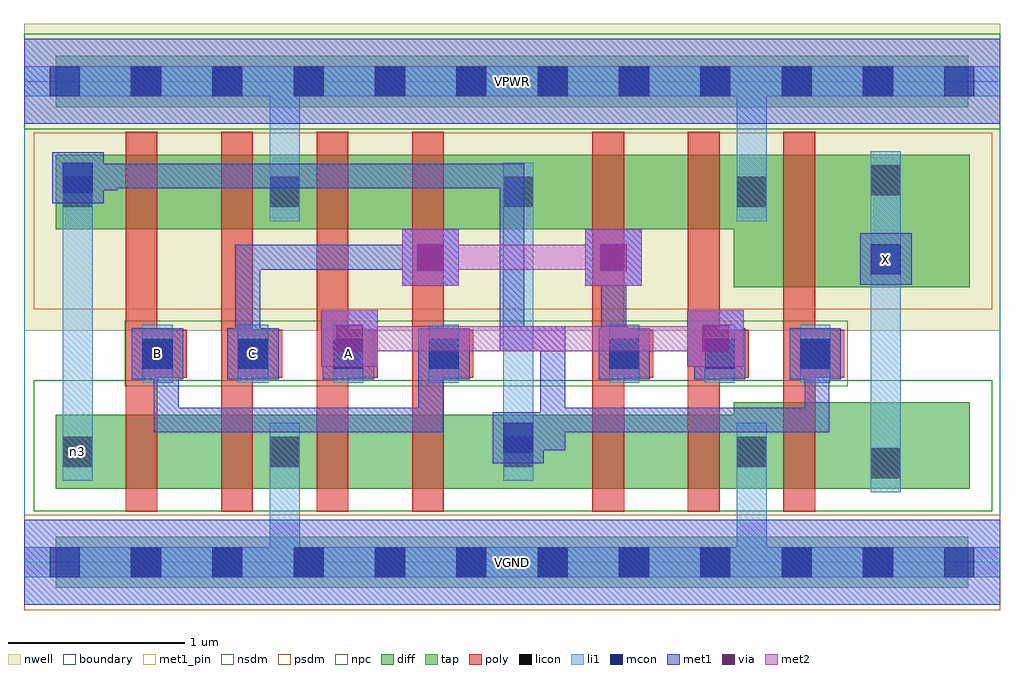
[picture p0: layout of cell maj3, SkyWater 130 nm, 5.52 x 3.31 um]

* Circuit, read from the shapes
.subckt maj3 A B C VGND VPWR X n3
XM1 n1 B n3 VGND sky130_fd_pr__nfet_01v8 w=0.42 l=0.18
XM2 VGND C n1 VGND sky130_fd_pr__nfet_01v8 w=0.42 l=0.18
XM3 n2 A VGND VGND sky130_fd_pr__nfet_01v8 w=0.42 l=0.18
XM4 n3 B n2 VGND sky130_fd_pr__nfet_01v8 w=0.42 l=0.18
XM5 n4 C n3 VGND sky130_fd_pr__nfet_01v8 w=0.42 l=0.18
XM6 VGND A n4 VGND sky130_fd_pr__nfet_01v8 w=0.42 l=0.18
XM7 X n3 VGND VGND sky130_fd_pr__nfet_01v8 w=0.49 l=0.18
XM8 n5 B n3 VPWR sky130_fd_pr__pfet_01v8 w=0.42 l=0.18
XM9 VPWR C n5 VPWR sky130_fd_pr__pfet_01v8 w=0.42 l=0.18
XM10 n6 A VPWR VPWR sky130_fd_pr__pfet_01v8 w=0.42 l=0.18
XM11 n3 B n6 VPWR sky130_fd_pr__pfet_01v8 w=0.42 l=0.18
XM12 n7 C n3 VPWR sky130_fd_pr__pfet_01v8 w=0.42 l=0.18
XM13 VPWR A n7 VPWR sky130_fd_pr__pfet_01v8 w=0.42 l=0.18
XM14 X n3 VPWR VPWR sky130_fd_pr__pfet_01v8 w=0.75 l=0.18
.ends

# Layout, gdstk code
import gdstk
lib = gdstk.Library(unit=1e-6, precision=1e-09)
def R(c, l, rs):  # rectangles x0, y0, x1, y1
    for r in rs: c.add(gdstk.rectangle(r[:2], r[2:], *l))
def A(c, l, x, y, w, h, nx, ny, dx, dy):  # array of equal rectangles
    R(c, l, [(x+i*dx, y+j*dy, x+i*dx+w, y+j*dy+h) for i in range(nx) for j in range(ny)])
nwell = (64, 20)
diff = (65, 20)
tap = (65, 44)
poly = (66, 20)
licon = (66, 44)
li1 = (67, 20)
mcon = (67, 44)
met1_pin = (68, 16)
met1 = (68, 20)
via = (68, 44)
met2 = (69, 20)
nsdm = (93, 44)
psdm = (94, 20)
npc = (95, 20)
boundary = (235, 4)

maj3 = lib.new_cell('maj3')
R(maj3, nwell, [(0,1.31,5.52,3.045)])
R(maj3, diff, [(0.18,0.415,4.295,0.835), (4.015,0.415,5.35,0.905), (4.015,1.555,5.35,2.305), (0.18,1.885,4.295,2.305)])
R(maj3, tap, [(0.18,-0.145,5.34,0.145), (0.18,2.575,5.34,2.865)])
A(maj3, poly, 0.575, 0.285, 0.18, 2.15, 4, 1, 0.54, 0)
A(maj3, poly, 3.215, 0.285, 0.18, 2.15, 3, 1, 0.54, 0)
A(maj3, poly, 0.59, 1.045, 0.33, 0.27, 4, 1, 0.54, 0)
A(maj3, poly, 3.23, 1.045, 0.33, 0.27, 3, 1, 0.54, 0)
A(maj3, licon, 0.605, -0.085, 0.17, 0.17, 10, 2, 0.46, 2.72)
A(maj3, licon, 1.39, 0.54, 0.17, 0.17, 3, 2, 1.32, 1.47)
A(maj3, licon, 0.67, 1.095, 0.17, 0.17, 4, 1, 0.54, 0)
A(maj3, licon, 3.31, 1.095, 0.17, 0.17, 3, 1, 0.54, 0)
R(maj3, licon, [(4.79,0.475,4.96,0.645), (0.22,0.54,0.39,0.71), (0.22,2.01,0.39,2.18), (4.79,2.075,4.96,2.245)])
A(maj3, li1, 1.39, 0.46, 0.17, 0.33, 3, 2, 1.32, 1.47)
A(maj3, li1, 0.67, 1.015, 0.17, 0.33, 4, 1, 0.54, 0)
A(maj3, li1, 3.31, 1.015, 0.17, 0.33, 3, 1, 0.54, 0)
R(maj3, li1, [(0,-0.085,5.52,0.085), (1.39,-0.085,1.56,0.79), (4.03,-0.085,4.2,0.79), (4.79,0.395,4.96,0.725), (4.79,0.395,4.96,2.325), (0.22,0.46,0.39,0.79), (0.22,0.46,0.39,2.26), (2.71,0.46,2.88,2.26), (0.22,1.93,0.39,2.26), (1.39,1.93,1.56,2.805), (4.03,1.93,4.2,2.805), (4.79,1.995,4.96,2.325), (0,2.635,5.52,2.805)])
A(maj3, mcon, 0.145, -0.085, 0.17, 0.17, 12, 2, 0.46, 2.72)
A(maj3, mcon, 0.67, 1.095, 0.17, 0.17, 4, 1, 0.54, 0)
A(maj3, mcon, 3.31, 1.095, 0.17, 0.17, 3, 1, 0.54, 0)
R(maj3, mcon, [(2.71,0.62,2.88,0.79), (4.79,1.63,4.96,1.8), (0.22,2.09,0.39,2.26)])
A(maj3, met1_pin, 0.61, 1.035, 0.29, 0.29, 3, 1, 0.54, 0)
R(maj3, met1_pin, [(0,-0.24,5.52,0.24), (4.73,1.57,5.02,1.86), (0,2.48,5.52,2.96)])
A(maj3, met1, 0.61, 1.035, 0.29, 0.29, 4, 1, 0.54, 0)
A(maj3, met1, 3.25, 1.035, 0.29, 0.29, 3, 1, 0.54, 0)
A(maj3, met1, 3.265, 1.08, 0.14, 0.14, 3, 1, 0.575, 0)
R(maj3, met1, [(0,-0.24,5.52,0.24), (2.65,0.56,2.94,0.85), (2.725,0.635,3.06,0.775), (2.92,0.635,3.06,0.875), (0.735,0.735,0.875,1.22), (0.735,0.735,2.37,0.875), (2.23,0.735,2.37,1.22), (2.92,0.735,4.555,0.875), (2.92,0.735,3.06,1.335), (4.415,0.735,4.555,1.22), (0.735,1.08,0.875,1.22), (1.195,1.08,1.335,1.22), (1.195,1.08,1.335,1.795), (1.77,1.08,1.91,1.22), (1.77,1.08,1.91,1.335), (2.23,1.08,2.37,1.22), (3.265,1.08,3.405,1.795), (3.84,1.08,3.98,1.335), (1.68,1.105,2,1.425), (3.75,1.105,4.07,1.425), (2.69,1.195,3.06,1.335), (2.69,1.195,2.83,2.255), (2.14,1.565,2.46,1.885), (3.175,1.565,3.495,1.885), (4.73,1.57,5.02,1.86), (1.195,1.655,2.37,1.795), (0.16,2.03,0.45,2.32), (0.235,2.105,0.53,2.245), (0.39,2.105,0.53,2.255), (0.39,2.115,2.83,2.255), (0,2.48,5.52,2.96)])
R(maj3, via, [(1.765,1.19,1.915,1.34), (3.835,1.19,3.985,1.34), (2.225,1.65,2.375,1.8), (3.26,1.65,3.41,1.8)])
R(maj3, met2, [(1.68,1.105,2,1.425), (3.75,1.105,4.07,1.425), (1.77,1.195,3.98,1.335), (2.14,1.565,2.46,1.885), (3.175,1.565,3.495,1.885), (2.23,1.655,3.405,1.795)])
R(maj3, nsdm, [(0.055,0.29,5.475,1.03), (0,2.45,5.52,2.99)])
R(maj3, psdm, [(0,-0.27,5.52,0.27), (0.055,1.43,5.475,2.43)])
R(maj3, npc, [(0.57,0.995,4.66,1.365)])
R(maj3, boundary, [(0,0,5.52,2.72)])
maj3.add(gdstk.Label('n3', (0.305,0.625), layer=67, texttype=5))
maj3.add(gdstk.Label('A', (1.835,1.18), layer=68, texttype=5))
maj3.add(gdstk.Label('B', (0.755,1.18), layer=68, texttype=5))
maj3.add(gdstk.Label('C', (1.295,1.18), layer=68, texttype=5))
maj3.add(gdstk.Label('X', (4.875,1.715), layer=68, texttype=5))
maj3.add(gdstk.Label('VPWR', (2.76,2.72), layer=68, texttype=5))
maj3.add(gdstk.Label('VGND', (2.76,0), layer=68, texttype=5))
maj3.add(gdstk.Label('A', (1.835,1.18), layer=68, texttype=16))
maj3.add(gdstk.Label('B', (0.755,1.18), layer=68, texttype=16))
maj3.add(gdstk.Label('C', (1.295,1.18), layer=68, texttype=16))
maj3.add(gdstk.Label('X', (4.875,1.715), layer=68, texttype=16))
maj3.add(gdstk.Label('VPWR', (2.76,2.72), layer=68, texttype=16))
maj3.add(gdstk.Label('VGND', (2.76,0), layer=68, texttype=16))

lib.write_gds('maj3.gds')
